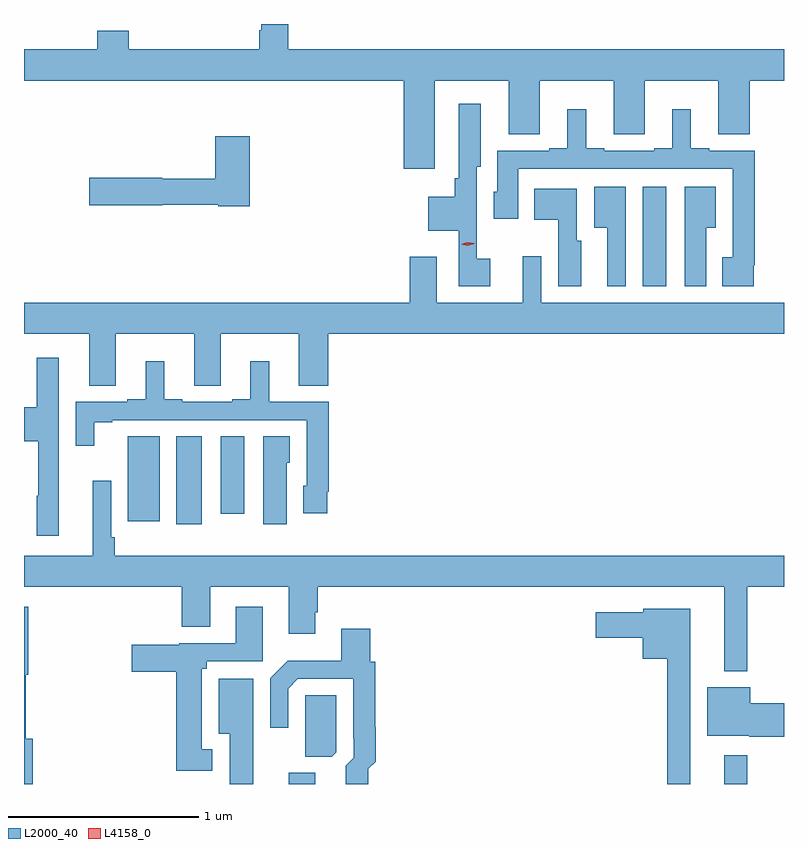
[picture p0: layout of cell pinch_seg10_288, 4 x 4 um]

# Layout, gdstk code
import gdstk
lib = gdstk.Library(unit=1e-6, precision=1e-09)
def R(c, l, rs):  # rectangles x0, y0, x1, y1
    for r in rs: c.add(gdstk.rectangle(r[:2], r[2:], *l))
def P(c, l, *ps):  # polygons
    for p in ps: c.add(gdstk.Polygon(p, *l))
L2000_40 = (2000, 40)
L4158_0 = (4158, 0)

pinch_seg10_288 = lib.new_cell('pinch_seg10_288')
R(pinch_seg10_288, L2000_40, [(433.229,1285.958,433.369,1286.016), (435.521,1285.958,435.643,1286.11), (432.638,1287.324,432.772,1287.788), (432.383,1287.342,432.55,1287.788), (432.872,1287.381,432.994,1287.788), (435.092,1288.578,435.217,1289.101)])
P(pinch_seg10_288, L2000_40, [(433.999,1289.66),(434.387,1289.66),(434.387,1289.377),(434.551,1289.377),(434.551,1289.66),(434.939,1289.66),(434.939,1289.377),(435.103,1289.377),(435.103,1289.66),(435.491,1289.66),(435.491,1289.377),(435.655,1289.377),(435.655,1289.66),(435.836,1289.66),(435.836,1289.824),(433.226,1289.824),(433.226,1289.958),(433.085,1289.958),(433.085,1289.925),(433.073,1289.925),(433.073,1289.824),(432.386,1289.824),(432.386,1289.923),(432.221,1289.923),(432.221,1289.824),(431.836,1289.824),(431.836,1289.66),(433.835,1289.66),(433.835,1289.196),(433.999,1289.196)],
  [(434.29,1288.723),(434.22,1288.723),(434.22,1289.208),(434.239,1289.208),(434.239,1289.539),(434.123,1289.539),(434.123,1289.146),(434.104,1289.146),(434.104,1289.05),(433.964,1289.05),(433.964,1288.871),(434.124,1288.871),(434.124,1288.577),(434.29,1288.577)],
  [(435.676,1288.687),(435.683,1288.687),(435.683,1289.292),(435.442,1289.292),(435.442,1289.305),(435.346,1289.305),(435.346,1289.509),(435.248,1289.509),(435.248,1289.305),(435.152,1289.305),(435.152,1289.292),(434.89,1289.292),(434.89,1289.305),(434.794,1289.305),(434.794,1289.509),(434.696,1289.509),(434.696,1289.305),(434.6,1289.305),(434.6,1289.292),(434.327,1289.292),(434.327,1289.076),(434.309,1289.076),(434.309,1288.932),(434.437,1288.932),(434.437,1289.196),(435.567,1289.196),(435.567,1288.731),(435.512,1288.731),(435.512,1288.577),(435.676,1288.577)],
  [(433.025,1289.368),(432.842,1289.368),(432.842,1289.144),(432.564,1289.144),(432.564,1289.15),(432.18,1289.15),(432.18,1289.003),(432.564,1289.003),(432.564,1289.008),(432.858,1289.008),(432.858,1289),(433.025,1289)],
  [(435.427,1288.886),(435.478,1288.886),(435.478,1289.101),(435.314,1289.101),(435.314,1288.577),(435.427,1288.577)],
  [(435.003,1289.101),(434.837,1289.101),(434.837,1288.886),(434.906,1288.886),(434.906,1288.578),(435.003,1288.578)],
  [(434.77,1288.818),(434.745,1288.818),(434.745,1289.092),(434.522,1289.092),(434.522,1288.928),(434.649,1288.928),(434.649,1288.578),(434.77,1288.578)],
  [(432.319,1288.328),(432.731,1288.328),(432.731,1288.054),(432.871,1288.054),(432.871,1288.328),(433.283,1288.328),(433.283,1288.054),(433.436,1288.054),(433.436,1288.328),(435.836,1288.328),(435.836,1288.492),(434.559,1288.492),(434.559,1288.735),(434.462,1288.735),(434.462,1288.492),(434.008,1288.492),(434.008,1288.732),(433.865,1288.732),(433.865,1288.492),(431.836,1288.492),(431.836,1288.328),(432.179,1288.328),(432.179,1288.054),(432.319,1288.054)],
  [(432.02,1287.68),(432.018,1287.68),(432.018,1288.201),(431.902,1288.201),(431.902,1287.942),(431.836,1287.942),(431.836,1287.761),(431.91,1287.761),(431.91,1287.476),(431.902,1287.476),(431.902,1287.264),(432.02,1287.264)],
  [(433.432,1287.496),(433.439,1287.496),(433.439,1287.969),(433.126,1287.969),(433.126,1288.183),(433.028,1288.183),(433.028,1287.982),(432.932,1287.982),(432.932,1287.969),(432.67,1287.969),(432.67,1287.982),(432.574,1287.982),(432.574,1288.183),(432.476,1288.183),(432.476,1287.982),(432.38,1287.982),(432.38,1287.969),(432.108,1287.969),(432.108,1287.738),(432.205,1287.738),(432.205,1287.861),(432.301,1287.861),(432.301,1287.873),(433.323,1287.873),(433.323,1287.528),(433.307,1287.528),(433.307,1287.384),(433.432,1287.384)],
  [(433.219,1287.648),(433.234,1287.648),(433.234,1287.788),(433.094,1287.788),(433.094,1287.324),(433.219,1287.324)],
  [(435.643,1286.996),(435.836,1286.996),(435.836,1287.16),(432.314,1287.16),(432.314,1287.256),(432.294,1287.256),(432.294,1287.553),(432.197,1287.553),(432.197,1287.16),(431.836,1287.16),(431.836,1286.996),(432.665,1286.996),(432.665,1286.785),(432.817,1286.785),(432.817,1286.996),(433.229,1286.996),(433.229,1286.748),(433.369,1286.748),(433.369,1286.863),(433.382,1286.863),(433.382,1286.996),(435.521,1286.996),(435.521,1286.552),(435.643,1286.552)],
  [(431.882,1286.196),(431.845,1286.196),(431.845,1286.534),(431.858,1286.534),(431.858,1286.89),(431.836,1286.89),(431.836,1285.958),(431.882,1285.958)],
  [(432.826,1286.141),(432.772,1286.141),(432.772,1286.565),(432.797,1286.565),(432.797,1286.604),(433.093,1286.604),(433.093,1286.89),(432.95,1286.89),(432.95,1286.7),(432.654,1286.7),(432.654,1286.691),(432.402,1286.691),(432.402,1286.549),(432.638,1286.549),(432.638,1286.028),(432.826,1286.028)],
  [(435.343,1286.881),(435.096,1286.881),(435.096,1286.863),(434.844,1286.863),(434.844,1286.729),(435.092,1286.729),(435.092,1286.618),(435.222,1286.618),(435.222,1285.958),(435.343,1285.958)],
  [(433.649,1286.037),(433.688,1286.076),(433.688,1286.258),(433.685,1286.258),(433.685,1286.601),(433.658,1286.601),(433.658,1286.776),(433.505,1286.776),(433.505,1286.608),(433.225,1286.608),(433.131,1286.514),(433.131,1286.253),(433.227,1286.253),(433.227,1286.46),(433.278,1286.511),(433.569,1286.511),(433.569,1286.197),(433.572,1286.197),(433.572,1286.097),(433.529,1286.054),(433.529,1285.958),(433.649,1285.958)],
  [(433.042,1286.512),(432.861,1286.512),(432.861,1286.222),(432.92,1286.222),(432.92,1285.958),(433.042,1285.958)],
  [(435.836,1286.384),(435.658,1286.384),(435.658,1286.467),(435.431,1286.467),(435.431,1286.213),(435.654,1286.213),(435.654,1286.206),(435.836,1286.206)],
  [(433.479,1286.124),(433.479,1286.426),(433.317,1286.426),(433.317,1286.315),(433.316,1286.315),(433.316,1286.101),(433.455,1286.101)])
P(pinch_seg10_288, L4158_0, [(434.172,1288.79),(434.136,1288.798),(434.136,1288.798),(434.136,1288.798),(434.17,1288.81),(434.206,1288.803),(434.206,1288.803),(434.206,1288.802)])

lib.write_gds('pinch_seg10_288.gds')
